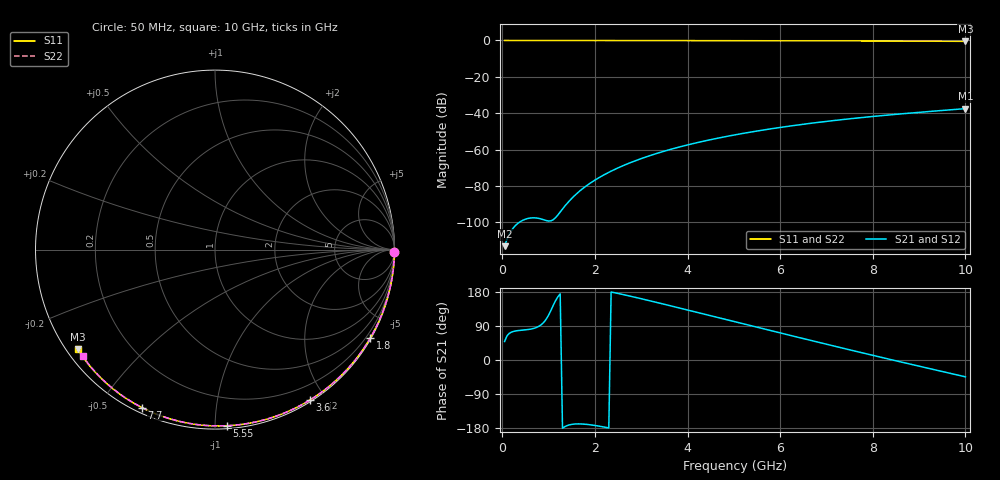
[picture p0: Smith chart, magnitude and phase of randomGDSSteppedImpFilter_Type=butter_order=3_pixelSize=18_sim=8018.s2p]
! freq	dB(S11)	phase(S11)	dB(S12)	phase(S12)
!  dB(S21)	phase(S21)	dB(S22)	phase(S22)
!S-par simulation data
#  GHz  S  DB  R 50
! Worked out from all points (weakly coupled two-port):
!   200 points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, 50 MHz to 10 GHz, reference 50 ohm
!   highest |S21| = -37.46 dB at 10 GHz (marker M1); lowest = -113.0 dB at 50 MHz (marker M2)
!   lowest |S11| = -0.5 dB at 10 GHz (marker M3), VSWR 35.88, Z = 1.54 - j16.2 ohm
!   |S11| at or under -10 dB: nowhere
!   |S22| runs from -0.5 to 0.0 dB; largest |S21 - S12| = 0
!   S11 on the Smith chart (normalised r, x): 50 MHz: open; 1.8 GHz: 0.03, -3.78; 3.6 GHz: 0.02, -1.81; 5.55 GHz: 0.02, -1.07; 7.7 GHz: 0.02, -0.64; 10 GHz: 0.03, -0.32
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0.05  -0.00 -0.8  -113.03 48.8  -113.03 48.8  -0.00 -0.8
0.45  -0.01 -7.5  -98.72 79.0  -98.72 79.0  -0.01 -7.4
0.9  -0.02 -15.0  -98.58 100.0  -98.58 100.0  -0.02 -14.6
1.3  -0.03 -21.5  -92.62 -179.9  -92.62 -179.9  -0.03 -21.1
1.75  -0.04 -28.8  -81.13 -169.1  -81.13 -169.1  -0.04 -28.2
1.8  -0.04 -29.6  -80.17 -169.6  -80.17 -169.6  -0.04 -29.0
2  -0.04 -32.8  -76.73 -172.7  -76.73 -172.7  -0.04 -32.1
2.15  -0.05 -35.2  -74.48 -175.8  -74.48 -175.8  -0.04 -34.5
2.5  -0.05 -40.8  -70.01 175.6  -70.01 175.6  -0.05 -39.9
2.9  -0.06 -47.0  -65.84 164.6  -65.84 164.6  -0.06 -46.1
3.4  -0.07 -54.7  -61.57 150.0  -61.57 150.0  -0.07 -53.6
3.6  -0.08 -57.8  -60.08 144.0  -60.08 144.0  -0.08 -56.6
3.9  -0.09 -62.3  -58.04 135.0  -58.04 135.0  -0.08 -61.0
4.3  -0.10 -68.2  -55.60 122.9  -55.60 122.9  -0.09 -66.8
5.05  -0.12 -79.0  -51.74 100.1  -51.74 100.1  -0.12 -77.4
5.55  -0.14 -86.1  -49.55 85.0  -49.55 85.0  -0.14 -84.3
6.1  -0.17 -93.6  -47.43 68.5  -47.43 68.5  -0.16 -91.8
6.7  -0.20 -101.7  -45.39 50.5  -45.39 50.5  -0.19 -99.7
7.7  -0.26 -114.8  -42.52 21.0  -42.52 21.0  -0.26 -112.5
8.35  -0.32 -123.1  -40.93 2.2  -40.93 2.2  -0.31 -120.7
9.2  -0.40 -133.9  -39.08 -21.9  -39.08 -21.9  -0.39 -131.2
10  -0.48 -144.0  -37.46 -44.4  -37.46 -44.4  -0.47 -141.1
